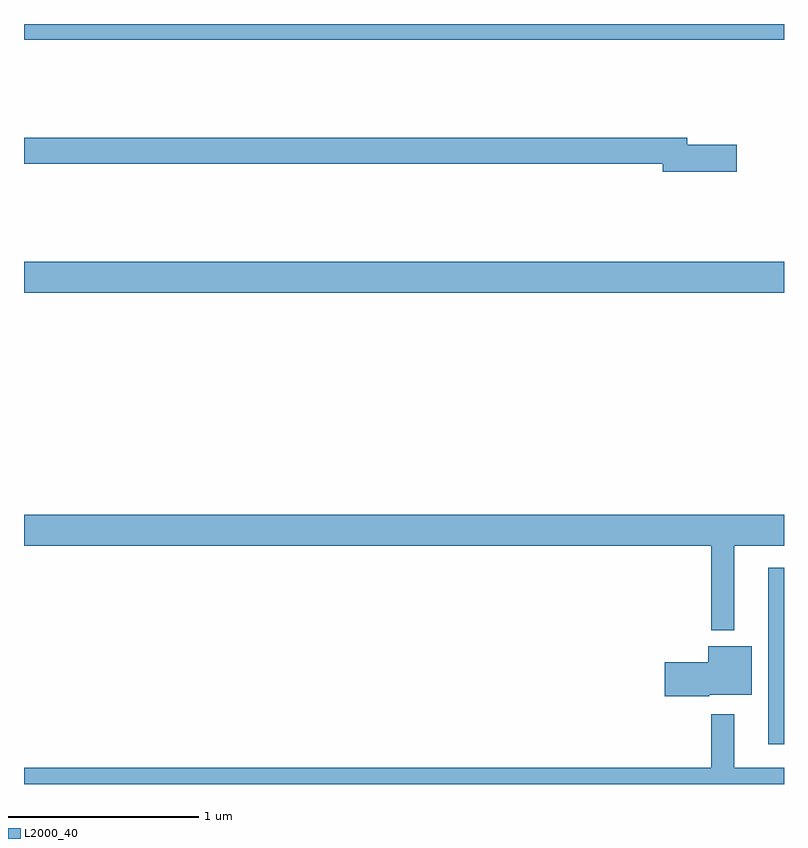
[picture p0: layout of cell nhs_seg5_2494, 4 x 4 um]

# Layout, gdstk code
import gdstk
lib = gdstk.Library(unit=1e-6, precision=1e-09)
def R(c, l, rs):  # rectangles x0, y0, x1, y1
    for r in rs: c.add(gdstk.rectangle(r[:2], r[2:], *l))
def P(c, l, *ps):  # polygons
    for p in ps: c.add(gdstk.Polygon(p, *l))
L2000_40 = (2000, 40)

nhs_seg5_2494 = lib.new_cell('nhs_seg5_2494')
R(nhs_seg5_2494, L2000_40, [(258.917,897.009,259,897.937), (255,899.384,259,899.548), (255,900.716,259,900.799)])
P(nhs_seg5_2494, L2000_40, [(258.751,900.164),(258.49,900.164),(258.49,900.2),(255,900.2),(255,900.064),(258.362,900.064),(258.362,900.022),(258.751,900.022)],
  [(258.739,898.052),(259,898.052),(259,898.216),(255,898.216),(255,898.052),(258.618,898.052),(258.618,897.608),(258.739,897.608)],
  [(258.606,897.269),(258.829,897.269),(258.829,897.523),(258.602,897.523),(258.602,897.44),(258.372,897.44),(258.372,897.262),(258.606,897.262)],
  [(259,896.884),(258.739,896.884),(258.739,897.166),(258.618,897.166),(258.618,896.884),(255,896.884),(255,896.799),(259,896.799)])

lib.write_gds('nhs_seg5_2494.gds')
